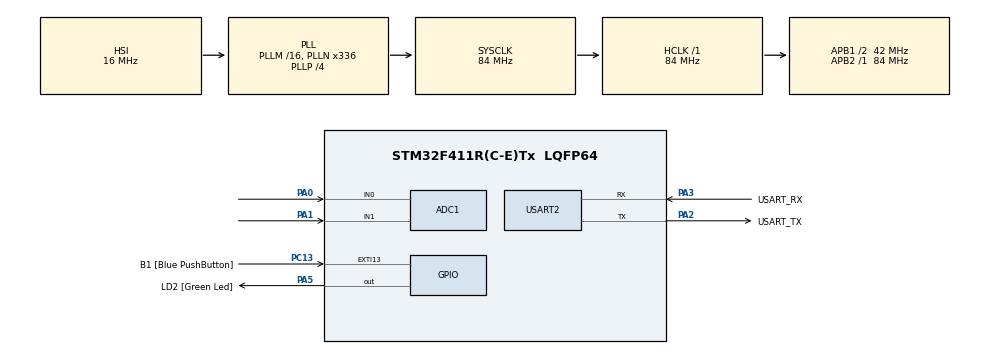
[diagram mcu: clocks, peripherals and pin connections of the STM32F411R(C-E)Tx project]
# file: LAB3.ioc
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ADC1.Channel-0\#ChannelRegularConversion=ADC_CHANNEL_0
ADC1.NbrOfConversionFlag=1
ADC1.Rank-0\#ChannelRegularConversion=1
ADC1.SamplingTime-0\#ChannelRegularConversion=ADC_SAMPLETIME_3CYCLES
ADC1.master=1
Mcu.Family=STM32F4
Mcu.Name=STM32F411R(C-E)Tx
Mcu.Package=LQFP64
NVIC.PriorityGroup=NVIC_PRIORITYGROUP_0
PA0-WKUP.Signal=ADCx_IN0
PA1.Signal=ADCx_IN1
PA13.GPIO_Label=TMS
PA13.Mode=Serial_Wire
PA13.Signal=SYS_JTMS-SWDIO
PA14.GPIO_Label=TCK
PA14.Mode=Serial_Wire
PA14.Signal=SYS_JTCK-SWCLK
PA2.GPIO_Label=USART_TX
PA2.Mode=Asynchronous
PA2.Signal=USART2_TX
PA3.GPIO_Label=USART_RX
PA3.Mode=Asynchronous
PA3.Signal=USART2_RX
PA5.GPIO_Label=LD2 [Green Led]
PA5.Signal=GPIO_Output
PB3.GPIO_Label=SWO
PB3.Signal=SYS_JTDO-SWO
PC13-ANTI_TAMP.GPIO_Label=B1 [Blue PushButton]
PC13-ANTI_TAMP.GPIO_ModeDefaultEXTI=GPIO_MODE_IT_FALLING
PC13-ANTI_TAMP.Signal=GPXTI13
PC14-OSC32_IN.Mode=LSE-External-Oscillator
PC14-OSC32_IN.Signal=RCC_OSC32_IN
PC15-OSC32_OUT.Mode=LSE-External-Oscillator
PC15-OSC32_OUT.Signal=RCC_OSC32_OUT
PH0\ -\ OSC_IN.Mode=HSE-External-Clock-Source
PH0\ -\ OSC_IN.Signal=RCC_OSC_IN
PH1\ -\ OSC_OUT.Mode=HSE-External-Clock-Source
PH1\ -\ OSC_OUT.Signal=RCC_OSC_OUT
ProjectManager.HeapSize=0x200
ProjectManager.StackSize=0x400
ProjectManager.TargetToolchain=STM32CubeIDE
RCC.48MHZClocksFreq_Value=84000000
RCC.AHBFreq_Value=84000000
RCC.APB1CLKDivider=RCC_HCLK_DIV2
RCC.APB1Freq_Value=42000000
RCC.APB1TimFreq_Value=84000000
RCC.APB2Freq_Value=84000000
RCC.APB2TimFreq_Value=84000000
RCC.CortexFreq_Value=84000000
RCC.FLatency-AdvancedSettings=FLASH_LATENCY_2
RCC.HCLKFreq_Value=84000000
RCC.HSE_VALUE=8000000
RCC.HSI_VALUE=16000000
RCC.PLLN=336
RCC.PLLP=RCC_PLLP_DIV4
RCC.SYSCLKFreq_VALUE=84000000
RCC.SYSCLKSource=RCC_SYSCLKSOURCE_PLLCLK
RCC.VCOOutputFreq_Value=336000000
SH.ADCx_IN0.0=ADC1_IN0,IN0
SH.ADCx_IN1.0=ADC1_IN1,IN1
USART2.VirtualMode=VM_ASYNC
VP_ADC1_TempSens_Input.Mode=IN-TempSens
board=NUCLEO-F411RE

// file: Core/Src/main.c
/* USER CODE BEGIN Header */
/**
 ******************************************************************************
 * @file           : main.c
 * @brief          : Main program body
 ******************************************************************************
 * @attention
 *
 * <h2><center>&copy; Copyright (c) 2021 STMicroelectronics.
 * All rights reserved.</center></h2>
 *
 * This software component is licensed by ST under BSD 3-Clause license,
 * the "License"; You may not use this file except in compliance with the
 * License. You may obtain a copy of the License at:
 *                        opensource.org/licenses/BSD-3-Clause
 *
 ******************************************************************************
 */
/* USER CODE END Header */
#include "main.h"

ADC_HandleTypeDef hadc1;

UART_HandleTypeDef huart2;

/* USER CODE BEGIN PV */
uint16_t adcdata[2] = { 0 };

typedef struct {
 ADC_ChannelConfTypeDef Config;
 uint16_t data;
} ADCStructure;

ADCStructure ADCChannel[3] = { 0 };
int ADCMode = 0;
float ADCOutputConverted = 0;
GPIO_PinState SwitchState1[2];

/* USER CODE END PV */

void SystemClock_Config(void);
static void MX_GPIO_Init(void);
static void MX_USART2_UART_Init(void);
static void MX_ADC1_Init(void);
/* USER CODE BEGIN PFP */
void ADCPollingMethodInit();
void ADCPollingMethodUpdate();
/* USER CODE END PFP */

int main(void) {

 /* MCU Configuration--------------------------------------------------------*/

 /* Reset of all peripherals, Initializes the Flash interface and the Systick. */
 HAL_Init();

 /* Configure the system clock */
 SystemClock_Config();

 /* Initialize all configured peripherals */
 MX_GPIO_Init();
 MX_USART2_UART_Init();
 MX_ADC1_Init();
 /* USER CODE BEGIN 2 */
 ADCPollingMethodInit();

 /* USER CODE END 2 */

 /* Infinite loop */
 while (1) {

    /* USER CODE BEGIN 3 */
    ADCPollingMethodUpdate();

 }
 /* USER CODE END 3 */
}

void SystemClock_Config(void) {
 RCC_OscInitTypeDef RCC_OscInitStruct = { 0 };
 RCC_ClkInitTypeDef RCC_ClkInitStruct = { 0 };

 /** Configure the main internal regulator output voltage
  */
 __HAL_RCC_PWR_CLK_ENABLE();
 __HAL_PWR_VOLTAGESCALING_CONFIG(PWR_REGULATOR_VOLTAGE_SCALE1);
 /** Initializes the RCC Oscillators according to the specified parameters
  * in the RCC_OscInitTypeDef structure.
  */
 RCC_OscInitStruct.OscillatorType = RCC_OSCILLATORTYPE_HSI;
 RCC_OscInitStruct.HSIState = RCC_HSI_ON;
 RCC_OscInitStruct.HSICalibrationValue = RCC_HSICALIBRATION_DEFAULT;
 RCC_OscInitStruct.PLL.PLLState = RCC_PLL_ON;
 RCC_OscInitStruct.PLL.PLLSource = RCC_PLLSOURCE_HSI;
 RCC_OscInitStruct.PLL.PLLM = 16;
 RCC_OscInitStruct.PLL.PLLN = 336;
 RCC_OscInitStruct.PLL.PLLP = RCC_PLLP_DIV4;
 RCC_OscInitStruct.PLL.PLLQ = 4;
 if (HAL_RCC_OscConfig(&RCC_OscInitStruct) != HAL_OK) {
  Error_Handler();
 } /** Initializes the CPU, AHB and APB buses clocks
  */
 RCC_ClkInitStruct.ClockType = RCC_CLOCKTYPE_HCLK | RCC_CLOCKTYPE_SYSCLK
   | RCC_CLOCKTYPE_PCLK1 | RCC_CLOCKTYPE_PCLK2;
 RCC_ClkInitStruct.SYSCLKSource = RCC_SYSCLKSOURCE_PLLCLK;
 RCC_ClkInitStruct.AHBCLKDivider = RCC_SYSCLK_DIV1;
 RCC_ClkInitStruct.APB1CLKDivider = RCC_HCLK_DIV2;
 RCC_ClkInitStruct.APB2CLKDivider = RCC_HCLK_DIV1;

 if (HAL_RCC_ClockConfig(&RCC_ClkInitStruct, FLASH_LATENCY_2) != HAL_OK) {
  Error_Handler();
 }
}

static void MX_ADC1_Init(void) {

 ADC_ChannelConfTypeDef sConfig = { 0 };

 /** Configure the global features of the ADC (Clock, Resolution, Data Alignment and number of conversion)
  */
 hadc1.Instance = ADC1;
 hadc1.Init.ClockPrescaler = ADC_CLOCK_SYNC_PCLK_DIV4;
 hadc1.Init.Resolution = ADC_RESOLUTION_12B;
 hadc1.Init.ScanConvMode = DISABLE;
 hadc1.Init.ContinuousConvMode = DISABLE;
 hadc1.Init.DiscontinuousConvMode = DISABLE;
 hadc1.Init.ExternalTrigConvEdge = ADC_EXTERNALTRIGCONVEDGE_NONE;
 hadc1.Init.ExternalTrigConv = ADC_SOFTWARE_START;
 hadc1.Init.DataAlign = ADC_DATAALIGN_RIGHT;
 hadc1.Init.NbrOfConversion = 1;
 hadc1.Init.DMAContinuousRequests = DISABLE;
 hadc1.Init.EOCSelection = ADC_EOC_SINGLE_CONV;
 if (HAL_ADC_Init(&hadc1) != HAL_OK) {
  Error_Handler();
 }
 /** Configure for the selected ADC regular channel its corresponding rank in the sequencer and its sample time.
  */
 sConfig.Channel = ADC_CHANNEL_0;
 sConfig.Rank = 1;
 sConfig.SamplingTime = ADC_SAMPLETIME_3CYCLES;
 if (HAL_ADC_ConfigChannel(&hadc1, &sConfig) != HAL_OK) {
  Error_Handler();
 }

}

static void MX_USART2_UART_Init(void) {

 huart2.Instance = USART2;
 huart2.Init.BaudRate = 115200;
 huart2.Init.WordLength = UART_WORDLENGTH_8B;
 huart2.Init.StopBits = UART_STOPBITS_1;
 huart2.Init.Parity = UART_PARITY_NONE;
 huart2.Init.Mode = UART_MODE_TX_RX;
 huart2.Init.HwFlowCtl = UART_HWCONTROL_NONE;
 huart2.Init.OverSampling = UART_OVERSAMPLING_16;
 if (HAL_UART_Init(&huart2) != HAL_OK) {
  Error_Handler();
 }

}

static void MX_GPIO_Init(void) {
 GPIO_InitTypeDef GPIO_InitStruct = { 0 };

 /* GPIO Ports Clock Enable */
 __HAL_RCC_GPIOC_CLK_ENABLE();
 __HAL_RCC_GPIOH_CLK_ENABLE();
 __HAL_RCC_GPIOA_CLK_ENABLE();
 __HAL_RCC_GPIOB_CLK_ENABLE();

 /*Configure GPIO pin Output Level */
 HAL_GPIO_WritePin(LD2_GPIO_Port, LD2_Pin, GPIO_PIN_RESET);

 /*Configure GPIO pin : PC13 */
 GPIO_InitStruct.Pin = GPIO_PIN_13;
 GPIO_InitStruct.Mode = GPIO_MODE_INPUT;
 GPIO_InitStruct.Pull = GPIO_NOPULL;
 HAL_GPIO_Init(GPIOC, &GPIO_InitStruct);

 /*Configure GPIO pin : LD2_Pin */
 GPIO_InitStruct.Pin = LD2_Pin;
 GPIO_InitStruct.Mode = GPIO_MODE_OUTPUT_PP;
 GPIO_InitStruct.Pull = GPIO_NOPULL;
 GPIO_InitStruct.Speed = GPIO_SPEED_FREQ_LOW;
 HAL_GPIO_Init(LD2_GPIO_Port, &GPIO_InitStruct);

}

/* USER CODE BEGIN 4 */
void ADCPollingMethodInit() {
 //config all ADC Channel
 ADCChannel[0].Config.Channel = ADC_CHANNEL_0;
 ADCChannel[0].Config.Rank = 1;
 ADCChannel[0].Config.SamplingTime = ADC_SAMPLETIME_3CYCLES;

 ADCChannel[1].Config.Channel = ADC_CHANNEL_1;
 ADCChannel[1].Config.Rank = 1;
 ADCChannel[1].Config.SamplingTime = ADC_SAMPLETIME_3CYCLES;

 ADCChannel[2].Config.Channel = ADC_CHANNEL_TEMPSENSOR;
 ADCChannel[2].Config.Rank = 1;
 ADCChannel[2].Config.SamplingTime = ADC_SAMPLETIME_3CYCLES;
}
//Polling Method
void ADCPollingMethodUpdate() {
 //Read all 3 Channel
 for (int i = 0; i < 3; i++) {
  HAL_ADC_ConfigChannel(&hadc1, &ADCChannel[i].Config);
  HAL_ADC_Start(&hadc1);
  if (HAL_ADC_PollForConversion(&hadc1, 10) == HAL_OK) {
   ADCChannel[i].data = HAL_ADC_GetValue(&hadc1);
  }
  HAL_ADC_Stop(&hadc1);
 }
}
/* USER CODE END 4 */

void Error_Handler(void) {
 __disable_irq();
 while (1) {
 }
}

/************************ (C) COPYRIGHT STMicroelectronics *****END OF FILE****/
